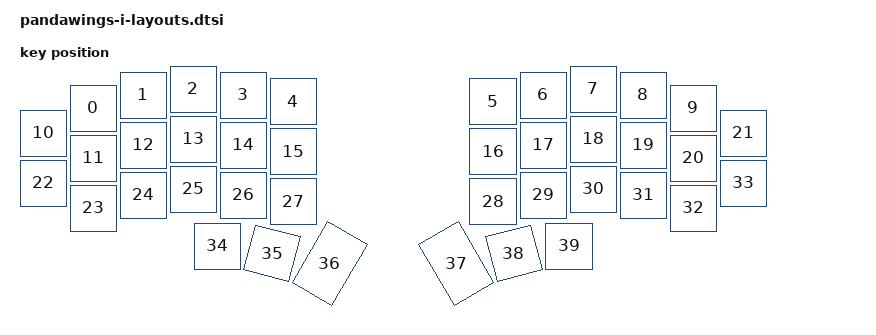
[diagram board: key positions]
// See https://zmk.dev/docs/development/hardware-integration/physical-layouts
// for how to configure this.

#include <physical_layouts.dtsi>

/ {
    default_layout: default_layout {
        compatible = "zmk,physical-layout";
        display-name = "Default Layout";
        transform = <&default_transform>;
        kscan = <&kscan>;

        // Edit this to define the positions and sizes of the keys, or remove it
        // if your keyboard will not support ZMK Studio.
        // https://zmk.dev/docs/development/hardware-integration/physical-layouts#optional-keys-property

        // generated from json with https://zmk-physical-layout-converter.streamlit.app/
        keys  //                     w   h    x    y     rot    rx    ry
            = <&key_physical_attrs 100 100  100   38       0     0     0>
            , <&key_physical_attrs 100 100  200   12       0     0     0>
            , <&key_physical_attrs 100 100  300    0       0     0     0>
            , <&key_physical_attrs 100 100  400   12       0     0     0>
            , <&key_physical_attrs 100 100  500   25       0     0     0>
            , <&key_physical_attrs 100 100  900   25       0     0     0>
            , <&key_physical_attrs 100 100 1000   12       0     0     0>
            , <&key_physical_attrs 100 100 1100    0       0     0     0>
            , <&key_physical_attrs 100 100 1200   12       0     0     0>
            , <&key_physical_attrs 100 100 1300   38       0     0     0>
            , <&key_physical_attrs 100 100    0   88       0     0     0>
            , <&key_physical_attrs 100 100  100  138       0     0     0>
            , <&key_physical_attrs 100 100  200  112       0     0     0>
            , <&key_physical_attrs 100 100  300  100       0     0     0>
            , <&key_physical_attrs 100 100  400  112       0     0     0>
            , <&key_physical_attrs 100 100  500  125       0     0     0>
            , <&key_physical_attrs 100 100  900  125       0     0     0>
            , <&key_physical_attrs 100 100 1000  112       0     0     0>
            , <&key_physical_attrs 100 100 1100  100       0     0     0>
            , <&key_physical_attrs 100 100 1200  112       0     0     0>
            , <&key_physical_attrs 100 100 1300  138       0     0     0>
            , <&key_physical_attrs 100 100 1400   88       0     0     0>
            , <&key_physical_attrs 100 100    0  188       0     0     0>
            , <&key_physical_attrs 100 100  100  238       0     0     0>
            , <&key_physical_attrs 100 100  200  212       0     0     0>
            , <&key_physical_attrs 100 100  300  200       0     0     0>
            , <&key_physical_attrs 100 100  400  212       0     0     0>
            , <&key_physical_attrs 100 100  500  225       0     0     0>
            , <&key_physical_attrs 100 100  900  225       0     0     0>
            , <&key_physical_attrs 100 100 1000  212       0     0     0>
            , <&key_physical_attrs 100 100 1100  200       0     0     0>
            , <&key_physical_attrs 100 100 1200  212       0     0     0>
            , <&key_physical_attrs 100 100 1300  238       0     0     0>
            , <&key_physical_attrs 100 100 1400  188       0     0     0>
            , <&key_physical_attrs 100 100  348  314       0     0     0>
            , <&key_physical_attrs 100 100  348  314    1500   398   790>
            , <&key_physical_attrs 100 150  348  264    3000   398   790>
            , <&key_physical_attrs 100 150 1052  264 (-3000)  1102   790>
            , <&key_physical_attrs 100 100 1052  314 (-1500)  1102   790>
            , <&key_physical_attrs 100 100 1052  314       0     0     0>
            ;
    };
};
